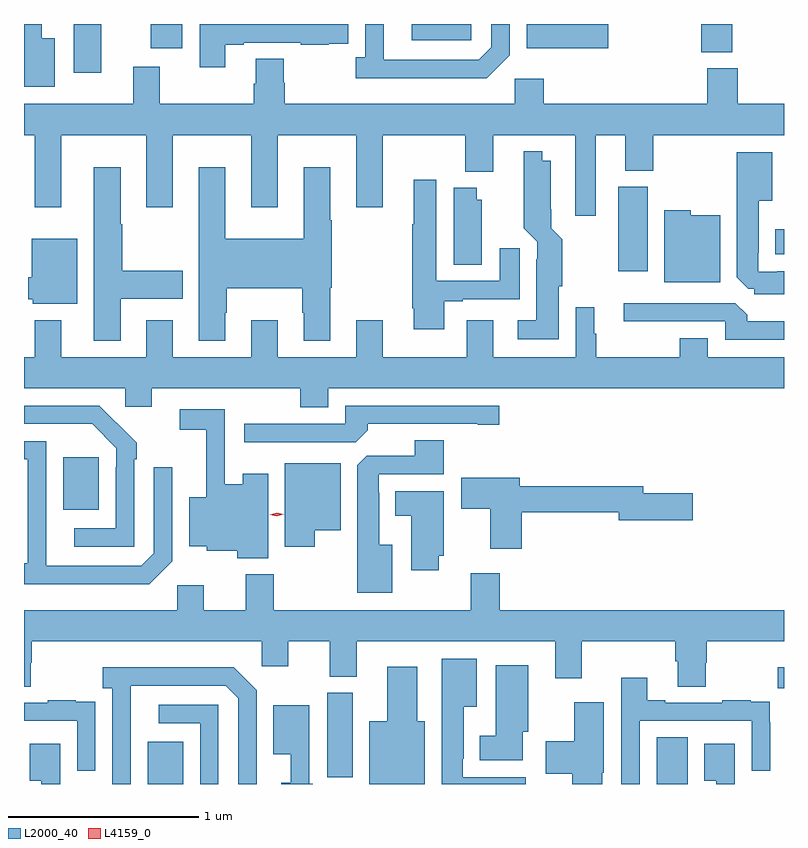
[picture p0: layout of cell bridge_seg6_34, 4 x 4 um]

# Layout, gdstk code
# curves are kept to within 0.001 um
import gdstk
lib = gdstk.Library(unit=1e-6, precision=1e-09)
def R(c, l, rs):  # rectangles x0, y0, x1, y1
    for r in rs: c.add(gdstk.rectangle(r[:2], r[2:], *l))
def P(c, l, *ps):  # polygons
    for p in ps: c.add(gdstk.Polygon(p, *l))
L2000_40 = (2000, 40)
L4159_0 = (4159, 0)

bridge_seg6_34 = lib.new_cell('bridge_seg6_34')
R(bridge_seg6_34, L2000_40, [(1077.947,982.549,1078.135,982.771), (1080.626,982.549,1080.79,982.796), (1078.892,982.584,1079.026,983.028), (1081.263,983.054,1081.297,983.164), (1077.503,983.993,1077.691,984.268), (1080.425,985.248,1080.58,985.692), (1081.25,985.337,1081.297,985.468), (1077.56,986.292,1077.703,986.549), (1080.862,986.401,1081.024,986.549), (1077.965,986.421,1078.129,986.549), (1079.942,986.422,1080.373,986.549), (1079.337,986.463,1079.652,986.549)])
P(bridge_seg6_34, L2000_40, [(1079.853,986.385),(1079.853,986.549),(1079.757,986.549),(1079.757,986.427),(1079.691,986.361),(1079.191,986.361),(1079.191,986.549),(1079.094,986.549),(1079.094,986.374),(1079.043,986.374),(1079.043,986.264),(1079.732,986.264)],
  [(1078.357,986.439),(1078.453,986.439),(1078.453,986.451),(1078.753,986.451),(1078.753,986.439),(1078.901,986.439),(1078.901,986.445),(1079.003,986.445),(1079.003,986.549),(1078.908,986.549),(1078.908,986.547),(1078.317,986.547),(1078.317,986.549),(1078.221,986.549),(1078.221,986.322),(1078.357,986.322)],
  [(1077.46,986.473),(1077.391,986.473),(1077.391,986.549),(1077.297,986.549),(1077.297,986.219),(1077.46,986.219)],
  [(1080.307,985.964),(1080.461,985.964),(1080.461,985.777),(1080.609,985.777),(1080.609,985.964),(1081.297,985.964),(1081.297,986.128),(1081.053,986.128),(1081.053,986.316),(1080.893,986.316),(1080.893,986.128),(1080.032,986.128),(1080.032,986.26),(1079.88,986.26),(1079.88,986.128),(1078.67,986.128),(1078.67,986.241),(1078.665,986.241),(1078.665,986.366),(1078.517,986.366),(1078.517,986.234),(1078.505,986.234),(1078.505,986.128),(1078.012,986.128),(1078.012,986.323),(1077.872,986.323),(1077.872,986.128),(1077.297,986.128),(1077.297,985.964),(1077.353,985.964),(1077.353,985.584),(1077.493,985.584),(1077.493,985.964),(1077.941,985.964),(1077.941,985.584),(1078.081,985.584),(1078.081,985.964),(1078.493,985.964),(1078.493,985.584),(1078.633,985.584),(1078.633,985.964),(1079.045,985.964),(1079.045,985.584),(1079.185,985.584),(1079.185,985.964),(1079.62,985.964),(1079.62,985.772),(1079.767,985.772),(1079.767,985.964),(1080.197,985.964),(1080.197,985.539),(1080.307,985.539)],
  [(1080.112,985.17),(1080.13,985.17),(1080.13,985.415),(1080.071,985.474),(1080.07,985.828),(1080.025,985.828),(1080.025,985.879),(1079.928,985.879),(1079.927,985.474),(1079.997,985.404),(1079.997,985.31),(1079.993,985.31),(1079.993,984.991),(1079.895,984.991),(1079.895,984.89),(1080.112,984.89)],
  [(1081.297,985.249),(1081.261,985.249),(1081.261,985.245),(1081.161,985.245),(1081.161,985.345),(1081.165,985.345),(1081.165,985.619),(1081.234,985.619),(1081.234,985.873),(1081.049,985.873),(1081.049,985.215),(1081.109,985.155),(1081.14,985.155),(1081.14,985.127),(1081.297,985.127)],
  [(1078.357,985.028),(1078.365,985.028),(1078.365,985.157),(1078.762,985.157),(1078.762,985.028),(1078.769,985.028),(1078.769,984.882),(1078.909,984.882),(1078.909,985.161),(1078.917,985.161),(1078.917,985.516),(1078.909,985.516),(1078.909,985.795),(1078.769,985.795),(1078.769,985.42),(1078.357,985.42),(1078.357,985.795),(1078.217,985.795),(1078.217,984.882),(1078.357,984.882)],
  [(1077.805,985.103),(1078.132,985.103),(1078.132,985.251),(1077.813,985.251),(1077.813,985.496),(1077.805,985.496),(1077.805,985.795),(1077.665,985.795),(1077.665,984.882),(1077.805,984.882)],
  [(1079.509,985.089),(1079.605,985.089),(1079.605,985.101),(1079.905,985.101),(1079.905,985.369),(1079.801,985.369),(1079.801,985.197),(1079.467,985.197),(1079.467,985.729),(1079.348,985.729),(1079.348,985.496),(1079.341,985.496),(1079.341,985.054),(1079.348,985.054),(1079.348,984.942),(1079.509,984.942)],
  [(1079.707,985.623),(1079.68,985.623),(1079.68,985.687),(1079.558,985.687),(1079.558,985.282),(1079.707,985.282)],
  [(1080.961,985.543),(1080.807,985.543),(1080.807,985.57),(1080.668,985.57),(1080.668,985.19),(1080.961,985.19)],
  [(1077.577,985.42),(1077.338,985.42),(1077.338,985.215),(1077.32,985.215),(1077.32,985.101),(1077.342,985.101),(1077.342,985.076),(1077.577,985.076)],
  [(1081.297,984.984),(1081.103,984.984),(1081.103,985.018),(1081.041,985.08),(1080.453,985.08),(1080.453,984.984),(1080.987,984.984),(1080.987,984.888),(1081.297,984.888)],
  [(1081.297,984.796),(1080.895,984.796),(1080.895,984.895),(1080.748,984.895),(1080.748,984.796),(1080.31,984.796),(1080.31,984.918),(1080.298,984.918),(1080.298,985.057),(1080.201,985.057),(1080.201,984.796),(1079.767,984.796),(1079.767,984.991),(1079.627,984.991),(1079.627,984.796),(1079.185,984.796),(1079.185,984.991),(1079.045,984.991),(1079.045,984.796),(1078.633,984.796),(1078.633,984.991),(1078.493,984.991),(1078.493,984.796),(1078.081,984.796),(1078.081,984.991),(1077.941,984.991),(1077.941,984.796),(1077.493,984.796),(1077.493,984.991),(1077.353,984.991),(1077.353,984.796),(1077.297,984.796),(1077.297,984.632),(1077.831,984.632),(1077.831,984.534),(1077.97,984.534),(1077.97,984.632),(1078.75,984.632),(1078.75,984.533),(1078.897,984.533),(1078.897,984.632),(1081.297,984.632)],
  [(1079.105,984.41),(1079.105,984.444),(1079.684,984.444),(1079.684,984.439),(1079.797,984.439),(1079.797,984.54),(1078.989,984.54),(1078.989,984.444),(1078.455,984.444),(1078.455,984.348),(1079.043,984.348)],
  [(1077.876,984.257),(1077.891,984.257),(1077.891,984.345),(1077.694,984.54),(1077.297,984.54),(1077.297,984.444),(1077.655,984.444),(1077.783,984.315),(1077.783,984.215),(1077.78,984.215),(1077.78,983.895),(1077.561,983.895),(1077.561,983.799),(1077.876,983.799)],
  [(1078.582,984.181),(1078.448,984.181),(1078.448,984.127),(1078.353,984.127),(1078.353,984.522),(1078.116,984.522),(1078.116,984.414),(1078.256,984.414),(1078.256,984.058),(1078.166,984.058),(1078.166,983.801),(1078.26,983.801),(1078.26,983.777),(1078.42,983.777),(1078.42,983.738),(1078.582,983.738)],
  [(1079.236,983.809),(1079.167,983.809),(1079.167,984.083),(1079.163,984.083),(1079.163,984.18),(1079.507,984.18),(1079.507,984.359),(1079.354,984.359),(1079.354,984.276),(1079.1,984.276),(1079.051,984.227),(1079.051,983.555),(1079.236,983.555)],
  [(1078.077,983.721),(1078.077,984.217),(1077.981,984.217),(1077.981,983.763),(1077.915,983.697),(1077.415,983.697),(1077.414,984.354),(1077.297,984.354),(1077.297,984.258),(1077.318,984.258),(1077.318,983.71),(1077.297,983.71),(1077.297,983.6),(1077.956,983.6)],
  [(1078.828,983.885),(1078.963,983.885),(1078.963,984.238),(1078.67,984.238),(1078.67,983.799),(1078.828,983.799)],
  [(1079.918,983.98),(1080.428,983.98),(1080.428,983.938),(1080.817,983.938),(1080.817,984.08),(1080.556,984.08),(1080.556,984.116),(1079.905,984.116),(1079.905,984.16),(1079.598,984.16),(1079.598,983.998),(1079.75,983.998),(1079.75,983.787),(1079.918,983.787)],
  [(1079.479,983.751),(1079.506,983.751),(1079.506,984.091),(1079.252,984.091),(1079.252,983.96),(1079.336,983.96),(1079.336,983.673),(1079.479,983.673)],
  [(1077.333,983.187),(1077.338,983.187),(1077.338,983.3),(1078.548,983.3),(1078.548,983.169),(1078.687,983.169),(1078.687,983.3),(1078.907,983.3),(1078.907,983.113),(1079.047,983.113),(1079.047,983.3),(1080.092,983.3),(1080.092,983.106),(1080.232,983.106),(1080.232,983.3),(1080.725,983.3),(1080.725,983.194),(1080.737,983.194),(1080.737,983.062),(1080.885,983.062),(1080.885,983.187),(1080.89,983.187),(1080.89,983.3),(1081.297,983.3),(1081.297,983.464),(1079.801,983.464),(1079.801,983.659),(1079.648,983.659),(1079.648,983.464),(1078.611,983.464),(1078.611,983.653),(1078.463,983.653),(1078.463,983.464),(1078.243,983.464),(1078.243,983.596),(1078.104,983.596),(1078.104,983.464),(1077.297,983.464),(1077.297,983.062),(1077.333,983.062)],
  [(1079.938,982.584),(1079.607,982.584),(1079.607,982.681),(1079.611,982.681),(1079.611,982.955),(1079.68,982.955),(1079.68,983.209),(1079.495,983.209),(1079.495,982.549),(1079.938,982.549)],
  [(1079.923,982.824),(1079.95,982.824),(1079.95,983.173),(1079.78,983.173),(1079.78,982.804),(1079.696,982.804),(1079.696,982.673),(1079.923,982.673)],
  [(1079.407,982.879),(1079.368,982.879),(1079.368,983.167),(1079.21,983.167),(1079.21,982.879),(1079.114,982.879),(1079.114,982.549),(1079.407,982.549)],
  [(1077.858,982.867),(1077.859,983.067),(1078.359,983.067),(1078.425,983.001),(1078.425,982.549),(1078.521,982.549),(1078.521,983.043),(1078.4,983.164),(1077.711,983.164),(1077.711,983.054),(1077.762,983.054),(1077.762,982.549),(1077.858,982.549)],
  [(1080.537,982.881),(1081.128,982.881),(1081.128,982.62),(1081.224,982.62),(1081.224,982.874),(1081.223,982.874),(1081.223,982.983),(1081.121,982.983),(1081.121,982.99),(1080.973,982.99),(1080.973,982.977),(1080.673,982.977),(1080.673,982.99),(1080.577,982.99),(1080.577,983.107),(1080.441,983.107),(1080.441,982.549),(1080.537,982.549)],
  [(1077.672,982.874),(1077.671,982.874),(1077.671,982.983),(1077.569,982.983),(1077.569,982.99),(1077.421,982.99),(1077.421,982.977),(1077.297,982.977),(1077.297,982.881),(1077.576,982.881),(1077.576,982.62),(1077.672,982.62)],
  [(1080.34,982.608),(1080.349,982.608),(1080.349,982.978),(1080.194,982.978),(1080.194,982.773),(1080.042,982.773),(1080.042,982.604),(1080.182,982.604),(1080.182,982.549),(1080.34,982.549)],
  [(1078.32,982.965),(1078.005,982.965),(1078.005,982.869),(1078.224,982.869),(1078.224,982.549),(1078.32,982.549)],
  [(1078.818,982.551),(1078.797,982.551),(1078.797,982.963),(1078.61,982.963),(1078.61,982.706),(1078.7,982.706),(1078.7,982.555),(1078.652,982.555),(1078.652,982.549),(1078.818,982.549)],
  [(1081.039,982.762),(1080.878,982.762),(1080.878,982.565),(1080.941,982.565),(1080.941,982.549),(1081.039,982.549)],
  [(1077.487,982.762),(1077.326,982.762),(1077.326,982.565),(1077.389,982.565),(1077.389,982.549),(1077.487,982.549)])
P(bridge_seg6_34, L4159_0, [(1078.627,983.957),(1078.59,983.965),(1078.59,983.965),(1078.59,983.966),(1078.626,983.976),(1078.663,983.968),(1078.663,983.968),(1078.663,983.968)])

lib.write_gds('bridge_seg6_34.gds')
